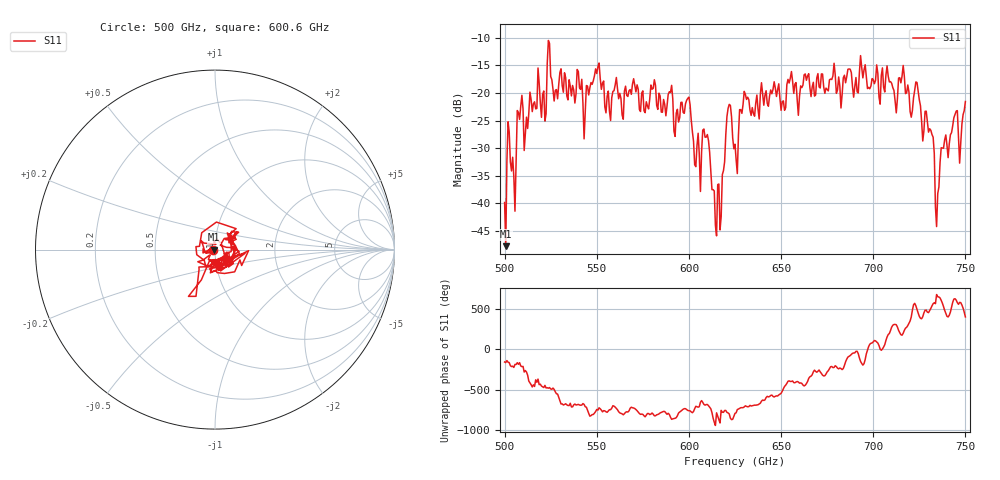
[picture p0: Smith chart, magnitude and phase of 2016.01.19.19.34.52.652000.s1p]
!Created with skrf (http://scikit-rf.org).
# GHz S RI R 50.0
!freq ReS11 ImS11
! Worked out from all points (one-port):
!   401 points, 500 GHz to 750 GHz, reference 50 ohm
!   lowest |S11| = -47.8 dB at 500.6 GHz (marker M1), VSWR 1.01, Z = 49.6 - j0.126 ohm
!   |S11| at or under -10 dB: start of sweep to end of sweep
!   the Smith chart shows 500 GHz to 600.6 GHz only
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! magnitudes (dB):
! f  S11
! 500 GHz  -39.9
! 500.6 GHz  -47.8
! 502.5 GHz  -27.1
! 505 GHz  -35.2
! 508.1 GHz  -24.8
! 521.2 GHz  -19.6
! 524.4 GHz  -11.0
! 527.5 GHz  -19.5
! 531.2 GHz  -18.7
! 562.5 GHz  -20.1
! 580.6 GHz  -19.2
! 593.8 GHz  -23.0
! 599.4 GHz  -21.0
! 605 GHz  -27.3
! 609.4 GHz  -28.0
! 615.6 GHz  -36.6
! 618.1 GHz  -34.8
! 621.2 GHz  -22.8
! 625 GHz  -29.3
! 630.6 GHz  -20.2
! 656.2 GHz  -17.9
! 687.5 GHz  -15.7
! 718.8 GHz  -18.6
! 731.2 GHz  -26.8
! 735 GHz  -38.2
! 738.1 GHz  -30.0
! 747.5 GHz  -29.0
! 750 GHz  -21.6
